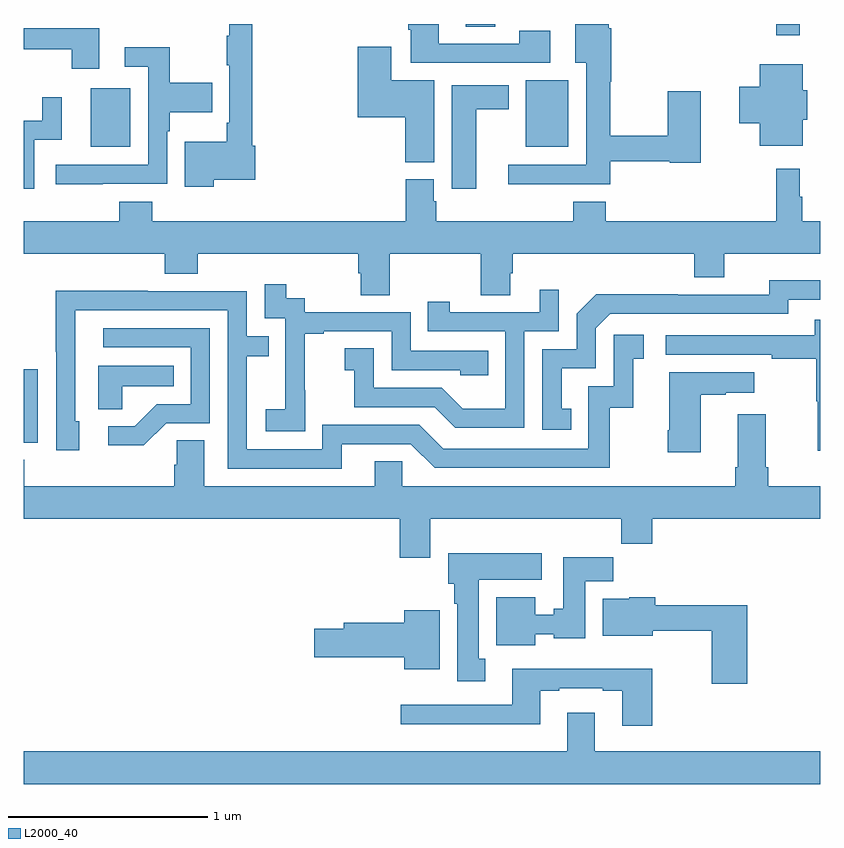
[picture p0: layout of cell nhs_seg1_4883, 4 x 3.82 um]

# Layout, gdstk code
import gdstk
lib = gdstk.Library(unit=1e-6, precision=1e-09)
def R(c, l, rs):  # rectangles x0, y0, x1, y1
    for r in rs: c.add(gdstk.rectangle(r[:2], r[2:], *l))
def P(c, l, *ps):  # polygons
    for p in ps: c.add(gdstk.Polygon(p, *l))
L2000_40 = (2000, 40)

nhs_seg1_4883 = lib.new_cell('nhs_seg1_4883')
R(nhs_seg1_4883, L2000_40, [(375,572.094,375.069,572.464), (375.335,573.581,375.535,573.877), (377.522,573.581,377.734,573.916), (378.781,574.143,378.899,574.199), (377.219,574.186,377.367,574.199)])
P(nhs_seg1_4883, L2000_40, [(377.946,573.51),(378.246,573.51),(378.246,573.502),(378.4,573.502),(378.4,573.862),(378.235,573.862),(378.235,573.638),(377.946,573.638),(377.946,573.908),(377.951,573.908),(377.951,574.178),(377.938,574.178),(377.938,574.199),(377.771,574.199),(377.771,574.004),(377.825,574.004),(377.825,573.492),(377.433,573.492),(377.433,573.395),(377.946,573.395)],
  [(375.953,573.416),(376.162,573.416),(376.162,573.587),(376.148,573.587),(376.148,574.199),(376.031,574.199),(376.031,574.139),(376.02,574.139),(376.02,573.991),(376.032,573.991),(376.032,573.703),(376.02,573.703),(376.02,573.607),(375.809,573.607),(375.809,573.38),(375.953,573.38)],
  [(377.644,574.165),(377.488,574.165),(377.488,574.101),(377.083,574.101),(377.083,574.199),(376.931,574.199),(376.931,574.171),(376.943,574.171),(376.943,574.005),(377.644,574.005)],
  [(375.379,574.177),(375,574.177),(375,574.073),(375.239,574.073),(375.239,573.975),(375.379,573.975)],
  [(377.062,573.916),(376.846,573.916),(376.846,574.084),(376.676,574.084),(376.676,573.731),(376.916,573.731),(376.916,573.505),(377.062,573.505)],
  [(375.395,573.396),(375.72,573.396),(375.72,573.659),(375.733,573.659),(375.733,573.755),(375.947,573.755),(375.947,573.903),(375.733,573.903),(375.733,574.081),(375.507,574.081),(375.507,573.984),(375.624,573.984),(375.624,573.492),(375.159,573.492),(375.159,573.395),(375.395,573.395)],
  [(378.913,573.717),(378.937,573.717),(378.937,573.867),(378.913,573.867),(378.913,573.997),(378.698,573.997),(378.698,573.884),(378.593,573.884),(378.593,573.701),(378.698,573.701),(378.698,573.587),(378.913,573.587)],
  [(377.272,573.77),(377.437,573.77),(377.437,573.892),(377.15,573.892),(377.15,573.372),(377.272,573.372)],
  [(375.052,573.618),(375.19,573.618),(375.19,573.832),(375.092,573.832),(375.092,573.714),(375,573.714),(375,573.372),(375.052,573.372)],
  [(376.839,573.044),(377.296,573.044),(377.296,572.836),(377.443,572.836),(377.443,572.946),(377.456,572.946),(377.456,573.044),(378.368,573.044),(378.368,572.927),(378.52,572.927),(378.52,573.044),(379,573.044),(379,573.208),(378.91,573.208),(378.91,573.332),(378.898,573.332),(378.898,573.472),(378.781,573.472),(378.781,573.208),(377.924,573.208),(377.924,573.307),(377.759,573.307),(377.759,573.208),(377.072,573.208),(377.072,573.309),(377.059,573.309),(377.059,573.42),(376.919,573.42),(376.919,573.208),(375.644,573.208),(375.644,573.307),(375.479,573.307),(375.479,573.208),(375,573.208),(375,573.044),(375.707,573.044),(375.707,572.945),(375.872,572.945),(375.872,573.044),(376.679,573.044),(376.679,572.946),(376.691,572.946),(376.691,572.836),(376.839,572.836)],
  [(377.75,572.265),(377.701,572.265),(377.701,572.469),(377.874,572.469),(377.874,572.67),(377.946,572.742),(378.84,572.742),(378.84,572.814),(379,572.814),(379,572.911),(378.744,572.911),(378.744,572.838),(378.284,572.838),(378.284,572.84),(377.876,572.84),(377.778,572.742),(377.778,572.565),(377.604,572.565),(377.604,572.16),(377.75,572.16)],
  [(376.413,572.359),(376.412,572.359),(376.412,572.643),(376.507,572.643),(376.507,572.655),(376.848,572.655),(376.848,572.46),(377.193,572.46),(377.193,572.433),(377.333,572.433),(377.333,572.556),(376.944,572.556),(376.944,572.751),(376.41,572.751),(376.41,572.82),(376.318,572.82),(376.318,572.89),(376.209,572.89),(376.209,572.721),(376.314,572.721),(376.314,572.492),(376.313,572.492),(376.313,572.263),(376.215,572.263),(376.215,572.153),(376.413,572.153)],
  [(377.514,572.655),(377.688,572.655),(377.688,572.863),(377.591,572.863),(377.591,572.751),(377.14,572.751),(377.14,572.803),(377.029,572.803),(377.029,572.655),(377.418,572.655),(377.418,572.266),(377.204,572.266),(377.1,572.37),(376.758,572.37),(376.758,572.569),(376.611,572.569),(376.611,572.459),(376.66,572.459),(376.66,572.274),(377.063,572.274),(377.168,572.169),(377.514,572.169)],
  [(376.597,572.088),(376.944,572.088),(377.064,571.968),(377.944,571.968),(377.944,572.271),(378.062,572.271),(378.062,572.517),(378.115,572.517),(378.115,572.638),(377.964,572.638),(377.964,572.379),(377.835,572.379),(377.835,572.064),(377.106,572.064),(376.986,572.184),(376.5,572.184),(376.5,572.061),(376.119,572.061),(376.119,572.53),(376.229,572.53),(376.229,572.631),(376.119,572.631),(376.119,572.856),(375.623,572.856),(375.623,572.858),(375.16,572.858),(375.16,572.551),(375.162,572.551),(375.162,572.058),(375.277,572.058),(375.277,572.202),(375.258,572.202),(375.258,572.76),(376.023,572.76),(376.023,571.965),(376.597,571.965)],
  [(379,572.713),(378.973,572.713),(378.973,572.634),(378.225,572.634),(378.225,572.538),(378.757,572.538),(378.757,572.518),(378.981,572.518),(378.981,572.304),(378.988,572.304),(378.988,572.055),(379,572.055)],
  [(375.714,572.193),(375.933,572.193),(375.933,572.67),(375.399,572.67),(375.399,572.574),(375.837,572.574),(375.837,572.289),(375.668,572.289),(375.557,572.178),(375.423,572.178),(375.423,572.081),(375.601,572.081)],
  [(375.495,572.378),(375.752,572.378),(375.752,572.482),(375.374,572.482),(375.374,572.263),(375.495,572.263)],
  [(378.4,572.335),(378.527,572.335),(378.527,572.345),(378.67,572.345),(378.67,572.449),(378.242,572.449),(378.242,572.158),(378.235,572.158),(378.235,572.046),(378.4,572.046)],
  [(377.041,571.712),(378.001,571.712),(378.001,571.588),(378.158,571.588),(378.158,571.712),(379,571.712),(379,571.876),(378.74,571.876),(378.74,571.972),(378.727,571.972),(378.727,572.239),(378.587,572.239),(378.587,571.972),(378.575,571.972),(378.575,571.876),(376.902,571.876),(376.902,572.003),(376.763,572.003),(376.763,571.876),(375.907,571.876),(375.907,572.108),(375.768,572.108),(375.768,571.985),(375.755,571.985),(375.755,571.876),(375.002,571.876),(375.002,572.009),(375,572.009),(375,571.712),(376.889,571.712),(376.889,571.518),(377.041,571.518)],
  [(377.317,571.01),(377.284,571.01),(377.284,571.406),(377.602,571.406),(377.602,571.54),(377.132,571.54),(377.132,571.386),(377.162,571.386),(377.162,571.286),(377.177,571.286),(377.177,570.897),(377.317,570.897)],
  [(377.569,571.133),(377.661,571.133),(377.661,571.112),(377.821,571.112),(377.821,571.4),(377.96,571.4),(377.96,571.519),(377.711,571.519),(377.711,571.26),(377.661,571.26),(377.661,571.231),(377.569,571.231),(377.569,571.318),(377.372,571.318),(377.372,571.076),(377.569,571.076)],
  [(378.635,571.279),(378.173,571.279),(378.173,571.318),(378.042,571.318),(378.042,571.312),(377.909,571.312),(377.909,571.124),(378.16,571.124),(378.16,571.15),(378.457,571.15),(378.457,570.885),(378.635,570.885)],
  [(377.089,571.252),(376.91,571.252),(376.91,571.19),(376.607,571.19),(376.607,571.16),(376.458,571.16),(376.458,571.018),(376.91,571.018),(376.91,570.956),(377.089,570.956)],
  [(378.158,570.958),(377.453,570.958),(377.453,570.777),(376.893,570.777),(376.893,570.68),(377.593,570.68),(377.593,570.849),(377.689,570.849),(377.689,570.861),(377.909,570.861),(377.909,570.849),(378.005,570.849),(378.005,570.672),(378.158,570.672)],
  [(379,570.544),(377.869,570.544),(377.869,570.739),(377.729,570.739),(377.729,570.544),(375,570.544),(375,570.38),(379,570.38)])

lib.write_gds('nhs_seg1_4883.gds')
